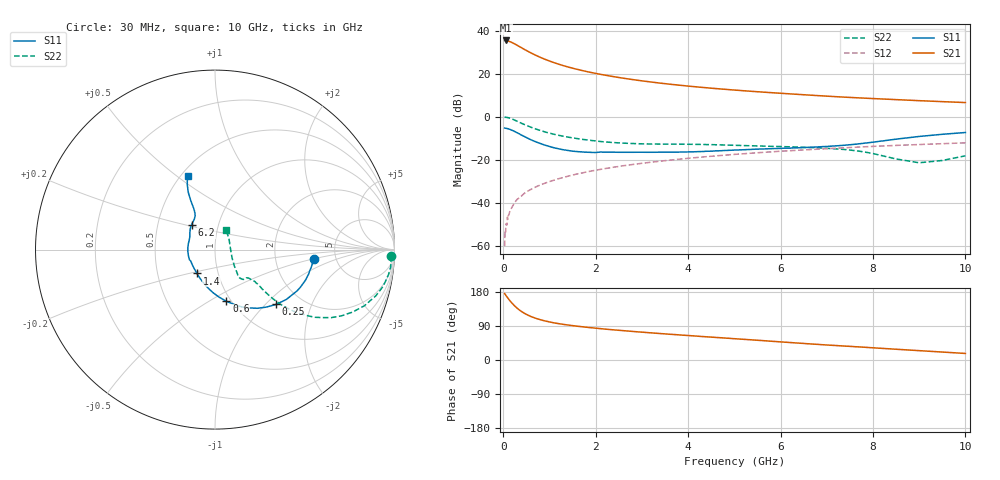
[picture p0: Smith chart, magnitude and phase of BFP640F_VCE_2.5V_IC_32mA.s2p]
! Infineon Technologies  Discrete & RF Semiconductors
! BFP640F
! VCE =  2.5 V,  IC =  32 mA
! Common Emitter S-Parameters:  Apr 2013
# GHz  S  MA  R  50
!  f  S11  S21  S12  S22
! GHz  MAG  ANG  MAG  ANG  MAG  ANG  MAG  ANG
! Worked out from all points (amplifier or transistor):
!   99 points, 30 MHz to 10 GHz, reference 50 ohm
!   highest |S21| = 35.5 dB at 50 MHz (marker M1)
!   |S21| within 3 dB of that: start of sweep to 363.7 MHz
!   unconditionally stable (mu >= 1): 1.771 GHz to end of sweep
!   at 350 MHz: K = 0.49, MSG = 35.1 dB, |S12| = -37.5 dB
!   at 3.5 GHz: K = 1.06, MAG = 16.4 dB, |S12| = -20.3 dB
!   at 10 GHz: K = 1.04, MAG = 8.1 dB, |S12| = -12.0 dB
!   S11 on the Smith chart (normalised r, x): 30 MHz: 3.37, -0.53; 250 MHz: 1.50, -1.16; 600 MHz: 0.95, -0.60; 1.4 GHz: 0.79, -0.22; 6.2 GHz: 0.74, +0.21; 10 GHz: 0.54, +0.54
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0.03  0.5516 -5.7  59.37 175.3  0.001 68.9  0.9812 -2.1
0.05  0.5469 -9.1  59.67 172.0  0.0021 100.8  0.9833 -4.6
0.09  0.5356 -16.4  58.38 165.1  0.0047 78.5  0.9695 -9.5
0.14  0.5159 -25.2  56.13 157.2  0.0063 81.9  0.9401 -14.9
0.2  0.4857 -34.7  52.73 148.7  0.0084 80.8  0.8893 -20.6
0.25  0.4579 -41.8  49.51 142.4  0.0103 78.3  0.842 -24.4
0.3  0.4292 -48.3  46.28 136.8  0.0122 76.6  0.7961 -27.6
0.4  0.3765 -59.6  40.16 127.6  0.0148 74.4  0.7091 -32.3
0.5  0.3327 -69.0  34.93 120.4  0.0182 73.4  0.6377 -35.4
0.6  0.2952 -77.5  30.65 114.7  0.0208 73.4  0.5773 -37.5
0.7  0.266 -85.0  27.13 110.2  0.0236 72.8  0.5272 -38.8
0.9  0.222 -98.6  21.89 103.2  0.0289 72.2  0.4507 -40.1
1.1  0.1923 -111.0  18.22 98.0  0.0341 72.1  0.396 -40.3
1.4  0.1669 -127.4  14.49 92.3  0.0421 71.5  0.3407 -39.8
1.7  0.1541 -142.2  12.02 87.8  0.0499 70.5  0.3031 -38.9
2.4  0.152 -167.8  8.583 79.4  0.0686 67.6  0.2538 -39.9
3.4  0.1522 167.9  6.098 69.8  0.0941 62.8  0.2341 -43.2
5.1  0.1716 144.4  4.136 55.4  0.1373 53.9  0.2184 -48.2
6.2  0.1887 133.5  3.437 46.2  0.1645 47.5  0.2028 -49.2
6.7  0.199 127.4  3.181 42.0  0.1761 44.7  0.1934 -48.7
8.5  0.3051 116.3  2.525 28.4  0.2184 34.2  0.1059 -26.0
10  0.4354 110.6  2.158 17.3  0.2504 25.3  0.1252 59.8
